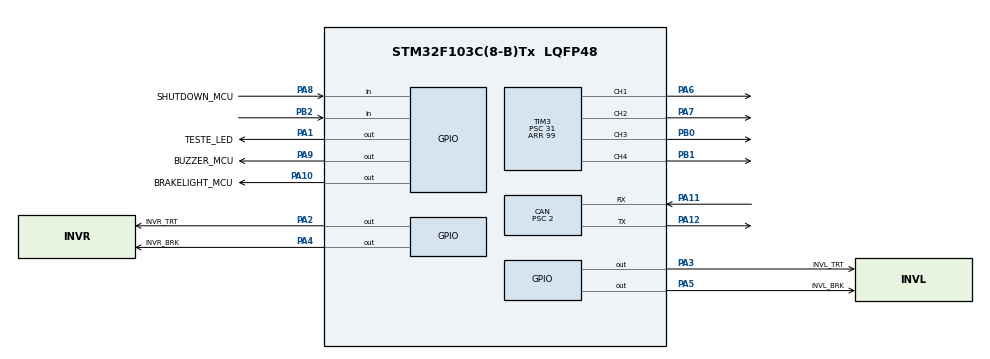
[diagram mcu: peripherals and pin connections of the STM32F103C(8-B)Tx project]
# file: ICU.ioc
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CAN.BS1=CAN_BS1_13TQ
CAN.BS2=CAN_BS2_2TQ
CAN.CalculateBaudRate=250000
CAN.CalculateTimeBit=4000
CAN.CalculateTimeQuantum=250.0
CAN.Prescaler=2
Mcu.Family=STM32F1
Mcu.Name=STM32F103C(8-B)Tx
Mcu.Package=LQFP48
NVIC.CAN1_RX1_IRQn=true\:0\:0\:false\:false\:true\:true\:true\:true
NVIC.PriorityGroup=NVIC_PRIORITYGROUP_4
NVIC.TIM1_BRK_IRQn=true\:0\:0\:false\:false\:true\:true\:true\:true
NVIC.TIM1_UP_IRQn=true\:0\:0\:false\:false\:true\:true\:true\:true
NVIC.TIM2_IRQn=true\:0\:0\:false\:false\:true\:true\:true\:true
NVIC.TIM4_IRQn=true\:0\:0\:false\:false\:true\:true\:true\:true
NVIC.USB_HP_CAN1_TX_IRQn=true\:0\:0\:false\:false\:true\:true\:true\:true
NVIC.USB_LP_CAN1_RX0_IRQn=true\:0\:0\:false\:false\:true\:true\:true\:true
PA1.GPIO_Label=TESTE_LED
PA1.Signal=GPIO_Output
PA10.GPIO_Label=BRAKELIGHT_MCU
PA10.GPIO_PuPd=GPIO_NOPULL
PA10.PinState=GPIO_PIN_RESET
PA10.Signal=GPIO_Output
PA11.GPIO_PuPd=GPIO_PULLUP
PA11.Mode=CAN_Activate
PA11.Signal=CAN_RX
PA12.Mode=CAN_Activate
PA12.Signal=CAN_TX
PA13.Mode=Serial_Wire
PA13.Signal=SYS_JTMS-SWDIO
PA14.Mode=Serial_Wire
PA14.Signal=SYS_JTCK-SWCLK
PA2.GPIO_Label=INVR_TRT
PA2.Signal=GPIO_Output
PA3.GPIO_Label=INVL_TRT
PA3.Signal=GPIO_Output
PA4.GPIO_Label=INVR_BRK
PA4.Signal=GPIO_Output
PA5.GPIO_Label=INVL_BRK
PA5.Signal=GPIO_Output
PA6.Signal=S_TIM3_CH1
PA7.Signal=S_TIM3_CH2
PA8.GPIO_Label=SHUTDOWN_MCU
PA8.Signal=GPIO_Input
PA9.GPIO_Label=BUZZER_MCU
PA9.PinState=GPIO_PIN_RESET
PA9.Signal=GPIO_Output
PB0.Signal=S_TIM3_CH3
PB1.Signal=S_TIM3_CH4
PB2.Signal=GPIO_Input
ProjectManager.HeapSize=0x200
ProjectManager.StackSize=0x400
ProjectManager.TargetToolchain=STM32CubeIDE
RCC.APB1Freq_Value=8000000
RCC.APB2Freq_Value=8000000
SH.S_TIM3_CH1.0=TIM3_CH1,PWM Generation1 CH1
SH.S_TIM3_CH2.0=TIM3_CH2,PWM Generation2 CH2
SH.S_TIM3_CH3.0=TIM3_CH3,PWM Generation3 CH3
SH.S_TIM3_CH4.0=TIM3_CH4,PWM Generation4 CH4
TIM1.Period=9999
TIM1.Prescaler=2399
TIM2.Period=999
TIM2.Prescaler=799
TIM3.Channel-PWM\ Generation1\ CH1=TIM_CHANNEL_1
TIM3.Channel-PWM\ Generation2\ CH2=TIM_CHANNEL_2
TIM3.Channel-PWM\ Generation3\ CH3=TIM_CHANNEL_3
TIM3.Channel-PWM\ Generation4\ CH4=TIM_CHANNEL_4
TIM3.Period=99
TIM3.Prescaler=31
TIM4.Period=9999
TIM4.Prescaler=799
VP_TIM1_VS_ClockSourceINT.Mode=Internal
VP_TIM2_VS_ClockSourceINT.Mode=Internal
VP_TIM3_VS_ClockSourceINT.Mode=Internal
VP_TIM4_VS_ClockSourceINT.Mode=Internal
board=custom

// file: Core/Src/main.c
/* USER CODE BEGIN Header */
/**
  ******************************************************************************
  * @file           : main.c
  * @brief          : Main program body
  ******************************************************************************
  * @attention
  *
  * Copyright (c) 2025 STMicroelectronics.
  * All rights reserved.
  *
  * This software is licensed under terms that can be found in the LICENSE file
  * in the root directory of this software component.
  * If no LICENSE file comes with this software, it is provided AS-IS.
  *
  ******************************************************************************
  */
/* USER CODE END Header */
#include "main.h"
#include "can.h"
#include "tim.h"
#include "gpio.h"

/* USER CODE BEGIN Includes */

#include "cant.h"
#include "shutdown.h"
#include "PWM.h"
#include "protocolopartida.h"
/* USER CODE END Includes */

void SystemClock_Config(void);

/* USER CODE BEGIN 0 */

void HAL_TIM_PeriodElapsedCallback(TIM_HandleTypeDef *htim){
	if(htim == &htim1){
		//essa função será chamada 3s após a inicialização do timer

		HAL_GPIO_WritePin(GPIOA, BUZZER_MCU_Pin, 0);//buzzer off
		partidaFlag = 1;

		HAL_TIM_Base_Stop_IT(&htim1); //desliga o timer pra ele n ficar infinitamente dando trigger nisso a cada 3s
	}
	if(htim == &htim4){
		//timer de erro da can, 1s sem mensagens da pedal
		canFlag0 = 1;
		HAL_GPIO_WritePin(GPIOA, TESTE_LED_Pin, 1);
		//HAL_GPIO_TogglePin(GPIOA, TESTE_LED_Pin);
	}
	//REGEN & controle fechada 0.1s:
	if(htim == &htim2){
		regenOK = !regenOK;
		can_enviar();
		diferencialMalhaFechada();
		if(diferentialReady == 7 && regenOK > 1){ //so vai chamar a malha de controle depois que as 3 entradas chegarem
			thayson();
		}
//		else{
//			TIM3->CCR1 = 0;
//			TIM3->CCR2 = 0;
//		}

	}
}

/* USER CODE END 0 */

int main(void){

  /* MCU Configuration--------------------------------------------------------*/

  /* Reset of all peripherals, Initializes the Flash interface and the Systick. */
  HAL_Init();

  /* Configure the system clock */
  SystemClock_Config();

  /* Initialize all configured peripherals */
  MX_GPIO_Init();
  MX_CAN_Init();
  MX_TIM1_Init();
  MX_TIM3_Init();
  MX_TIM4_Init();
  MX_TIM2_Init();
  /* USER CODE BEGIN 2 */

  can_init();
  inversores_init();
  __HAL_TIM_SET_COUNTER(&htim4, 0); //
  __HAL_TIM_CLEAR_IT(&htim1, TIM_IT_UPDATE);
  HAL_TIM_Base_Start_IT(&htim4); //timer de erro da can

  __HAL_TIM_CLEAR_IT(&htim2, TIM_IT_UPDATE);
  HAL_TIM_Base_Start_IT(&htim2); //timer controle fechado
  /* USER CODE END 2 */

  /* Infinite loop */
  /* USER CODE BEGIN WHILE */
  while (1)
  {

	  verifica_erro();
	  if(diferentialReady < 7 || regenOK < 2){
		  /*
		   * se a flag que permite diferencial de malha fechada estiver falsa
		   */
		  diferencial();
	  }

	  ///diferencial();
	  //diferencialMalhaFechada(); //essa função n faz controle viu, quem faz é a tayson
	  blight();
	  buzzerRegen();

    /* USER CODE END WHILE */

  }
}

void SystemClock_Config(void){
  RCC_OscInitTypeDef RCC_OscInitStruct = {0};
  RCC_ClkInitTypeDef RCC_ClkInitStruct = {0};

  /** Initializes the RCC Oscillators according to the specified parameters
  * in the RCC_OscInitTypeDef structure.
  */
  RCC_OscInitStruct.OscillatorType = RCC_OSCILLATORTYPE_HSI;
  RCC_OscInitStruct.HSIState = RCC_HSI_ON;
  RCC_OscInitStruct.HSICalibrationValue = RCC_HSICALIBRATION_DEFAULT;
  RCC_OscInitStruct.PLL.PLLState = RCC_PLL_NONE;
  if (HAL_RCC_OscConfig(&RCC_OscInitStruct) != HAL_OK)
  {
    Error_Handler();
  }

  /** Initializes the CPU, AHB and APB buses clocks
  */
  RCC_ClkInitStruct.ClockType = RCC_CLOCKTYPE_HCLK|RCC_CLOCKTYPE_SYSCLK
                              |RCC_CLOCKTYPE_PCLK1|RCC_CLOCKTYPE_PCLK2;
  RCC_ClkInitStruct.SYSCLKSource = RCC_SYSCLKSOURCE_HSI;
  RCC_ClkInitStruct.AHBCLKDivider = RCC_SYSCLK_DIV1;
  RCC_ClkInitStruct.APB1CLKDivider = RCC_HCLK_DIV1;
  RCC_ClkInitStruct.APB2CLKDivider = RCC_HCLK_DIV1;

  if (HAL_RCC_ClockConfig(&RCC_ClkInitStruct, FLASH_LATENCY_0) != HAL_OK)
  {
    Error_Handler();
  }
}

void Error_Handler(void)
{
  __disable_irq();
  while (1)
  {
  }
}
